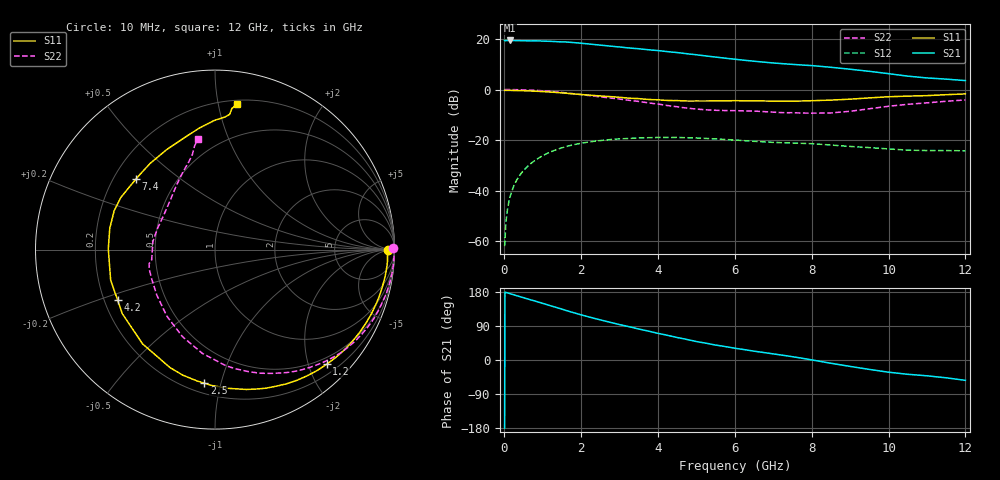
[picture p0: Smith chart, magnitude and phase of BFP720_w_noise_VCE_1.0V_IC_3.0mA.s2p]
! Infineon Technologies  Discrete & RF Semiconductors
! BFP720
! VCE =  1.0 V,  IC =  3.0 mA
! Common Emitter S-Parameters:  Aug 2012
# GHz  S  MA  R  50
!  f  S11  S21  S12  S22
! GHz  MAG  ANG  MAG  ANG  MAG  ANG  MAG  ANG
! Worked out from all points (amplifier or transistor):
!   105 points, 10 MHz to 12 GHz, reference 50 ohm
!   highest |S21| = 19.4 dB at 150 MHz (marker M1)
!   |S21| within 3 dB of that: start of sweep to 3.274 GHz
!   unconditionally stable (mu >= 1): start of sweep to 10.31 MHz; 7.571 GHz to end of sweep
!   at 300 MHz: K = 0.02, MSG = 27.9 dB, |S12| = -36.5 dB
!   at 3.6 GHz: K = 0.36, MSG = 17.5 dB, |S12| = -19.1 dB
!   at 12 GHz: K = 1.04, MAG = 12.6 dB, |S12| = -24.2 dB
!   lowest NFmin = 0.36 dB at 450 MHz
!   S11 on the Smith chart (normalised r, x): 10 MHz: 52, +0; 1.2 GHz: 0.37, -2.32; 2.5 GHz: 0.26, -0.89; 4.2 GHz: 0.25, -0.23; 7.4 GHz: 0.29, +0.35; 12 GHz: 0.23, +1.14
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0.01  0.9625 0.0  9.327 -179.7  0.0008 12.9  0.9897 0.5
0.02  0.9643 -0.7  9.2 179.1  0.001 90.0  0.9989 -0.5
0.05  0.9618 -1.8  9.336 178.1  0.0026 88.3  0.9979 -1.5
0.15  0.9624 -5.5  9.345 175.1  0.0075 86.6  0.9979 -4.4
0.4  0.9529 -14.8  9.281 167.4  0.02 80.3  0.9887 -11.8
0.8  0.9282 -30.0  9.195 155.6  0.0397 70.0  0.9639 -23.8
1.2  0.8917 -45.8  8.977 143.3  0.0581 59.4  0.9202 -36.1
1.6  0.8468 -62.1  8.732 131.0  0.0741 48.8  0.8597 -48.1
2.1  0.7863 -80.8  8.092 116.5  0.0891 36.4  0.7769 -62.2
2.5  0.7468 -94.5  7.55 105.9  0.098 27.5  0.7171 -72.5
3  0.7038 -110.8  6.942 93.5  0.106 17.6  0.6495 -84.7
3.5  0.6624 -127.6  6.41 81.7  0.1107 8.5  0.5818 -97.1
4.1  0.6183 -148.8  5.778 68.3  0.1129 -1.6  0.5025 -113.4
4.2  0.6114 -152.5  5.668 66.2  0.1128 -3.2  0.489 -116.3
4.5  0.6058 -163.7  5.39 59.3  0.1131 -8.0  0.4572 -126.0
5  0.5946 179.6  4.875 48.7  0.1103 -15.5  0.4118 -141.9
6.1  0.6007 157.4  3.9 29.6  0.0993 -27.8  0.3808 -164.3
7.4  0.5902 138.3  3.186 10.3  0.0881 -35.7  0.3481 175.8
8.5  0.6186 115.8  2.756 -8.6  0.08 -43.5  0.3447 145.6
9.5  0.6836 97.2  2.293 -24.8  0.0711 -46.5  0.4167 121.1
10.5  0.7414 85.6  1.84 -37.7  0.0634 -46.8  0.5105 106.6
12  0.82 81.3  1.503 -53.7  0.0614 -46.2  0.6231 98.8
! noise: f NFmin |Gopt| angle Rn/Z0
0.45  0.36  0.64  5  0.2
1.8  0.5  0.57  28  0.16
2.4  0.56  0.45  71  0.19
5.5  0.77  0.32  80  0.12
10  1.12  0.43  -102  0.21
